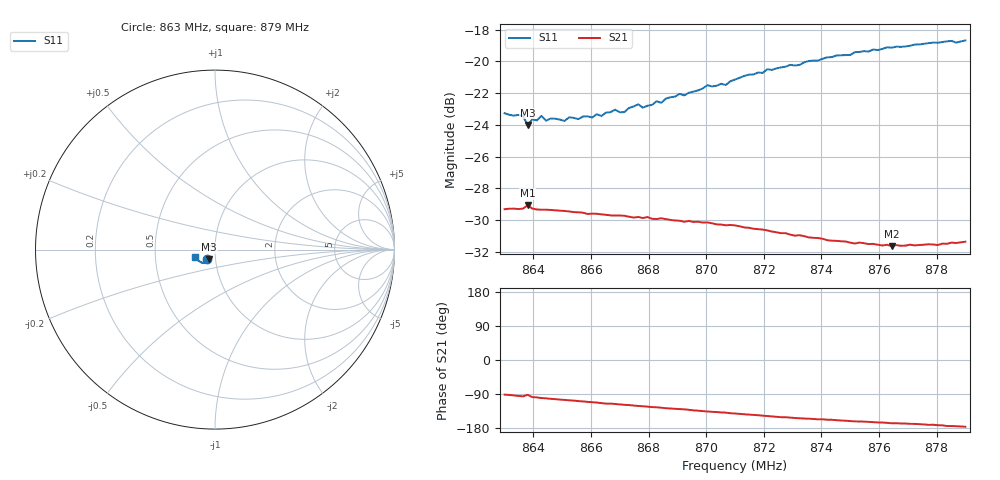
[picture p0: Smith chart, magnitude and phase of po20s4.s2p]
# HZ S RI R 50
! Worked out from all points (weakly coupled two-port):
!   101 points, 863 MHz to 879 MHz, reference 50 ohm
!   highest |S21| = -29.07 dB at 863.8 MHz (marker M1); lowest = -31.6 dB at 876.44 MHz (marker M2)
!   lowest |S11| = -24.0 dB at 863.8 MHz (marker M3), VSWR 1.13, Z = 46.5 - j5 ohm
!   |S11| at or under -10 dB: start of sweep to end of sweep
!   S12 and S22 are empty: the file has one direction only
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8.63e8  -0.0439 -0.0528  -0.000785 -0.0342  0 0  0 0
8.6364e8  -0.0401 -0.0538  -0.00351 -0.0342  0 0  0 0
8.638e8  -0.0333 -0.0535  -0.00115 -0.0352  0 0  0 0
8.6428e8  -0.0392 -0.0547  -0.0061 -0.0335  0 0  0 0
8.6444e8  -0.0375 -0.0532  -0.00659 -0.0334  0 0  0 0
8.6508e8  -0.0353 -0.0544  -0.00894 -0.0326  0 0  0 0
8.6572e8  -0.0337 -0.0579  -0.011 -0.0315  0 0  0 0
8.6636e8  -0.034 -0.058  -0.0132 -0.0302  0 0  0 0
8.6684e8  -0.0354 -0.0609  -0.0143 -0.0294  0 0  0 0
8.6716e8  -0.0333 -0.0607  -0.0155 -0.0287  0 0  0 0
8.6764e8  -0.0363 -0.0636  -0.0168 -0.0276  0 0  0 0
8.678e8  -0.0341 -0.0629  -0.017 -0.0272  0 0  0 0
8.6828e8  -0.0359 -0.0657  -0.0182 -0.0261  0 0  0 0
8.6844e8  -0.0355 -0.065  -0.0188 -0.0259  0 0  0 0
8.6908e8  -0.0396 -0.0684  -0.02 -0.0243  0 0  0 0
8.6924e8  -0.0388 -0.0678  -0.0202 -0.0238  0 0  0 0
8.7004e8  -0.044 -0.0717  -0.0223 -0.0217  0 0  0 0
8.7068e8  -0.0444 -0.0716  -0.0229 -0.02  0 0  0 0
8.71e8  -0.0478 -0.0734  -0.0237 -0.019  0 0  0 0
8.7372e8  -0.0682 -0.074  -0.0253 -0.0115  0 0  0 0
8.7644e8  -0.0919 -0.0614  -0.0255 -0.00589  0 0  0 0
8.79e8  -0.1097 -0.039  -0.027 -0.00179  0 0  0 0
